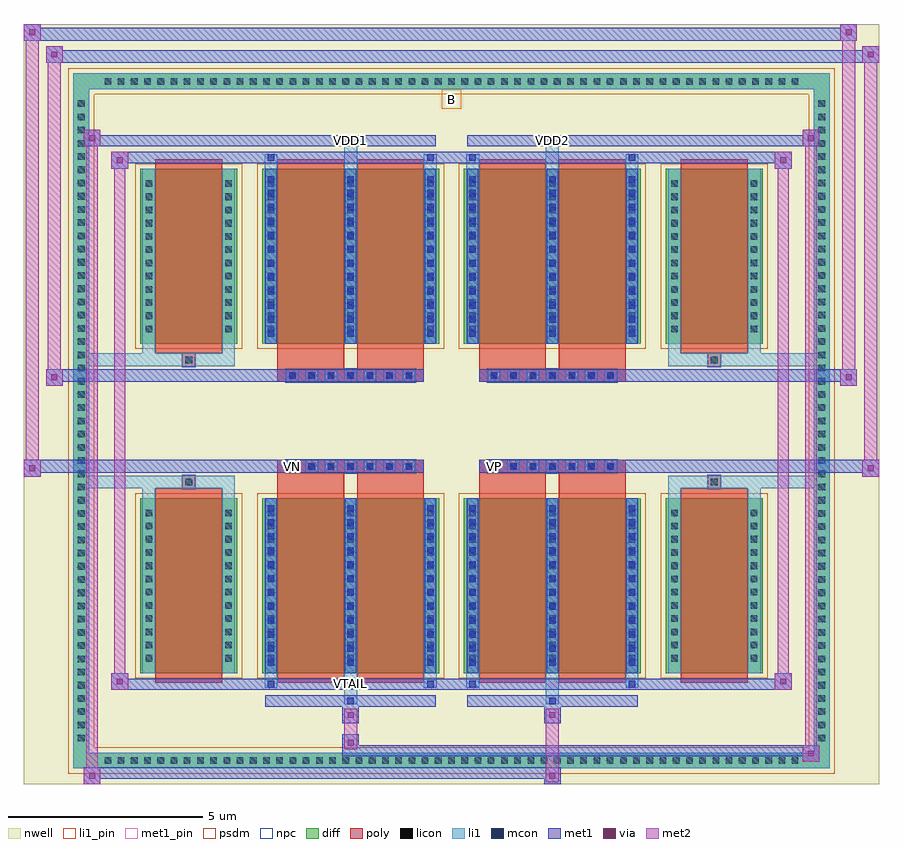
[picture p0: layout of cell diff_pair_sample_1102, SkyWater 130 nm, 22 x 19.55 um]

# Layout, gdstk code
import gdstk
lib = gdstk.Library(unit=1e-6, precision=5e-09)
def R(c, l, rs):  # rectangles x0, y0, x1, y1
    for r in rs: c.add(gdstk.rectangle(r[:2], r[2:], *l))
def A(c, l, x, y, w, h, nx, ny, dx, dy):  # array of equal rectangles
    R(c, l, [(x+i*dx, y+j*dy, x+i*dx+w, y+j*dy+h) for i in range(nx) for j in range(ny)])
def P(c, l, *ps):  # polygons
    for p in ps: c.add(gdstk.Polygon(p, *l))
nwell = (64, 20)
diff = (65, 20)
poly = (66, 20)
licon = (66, 44)
li1_pin = (67, 16)
li1 = (67, 20)
mcon = (67, 44)
met1_pin = (68, 16)
met1 = (68, 20)
via = (68, 44)
met2 = (69, 20)
psdm = (94, 20)
npc = (95, 20)

diff_pair_sample_1102 = lib.new_cell('diff_pair_sample_1102')
R(diff_pair_sample_1102, nwell, [(-11,-9.34,11,10.21), (-8.32,-7.53,-0.01,-0.805), (0.01,-7.53,8.32,-0.805), (-8.32,0.805,-0.01,7.53), (0.01,0.805,8.32,7.53)])
A(diff_pair_sample_1102, diff, -9.045, -8.94, 0.41, 0.41, 53, 2, 0.34, 17.47)
A(diff_pair_sample_1102, diff, -9.73, -8.365, 0.41, 0.41, 1, 49, 0, 0.34)
A(diff_pair_sample_1102, diff, 9.32, -8.365, 0.41, 0.41, 1, 49, 0, 0.34)
R(diff_pair_sample_1102, diff, [(-9.045,-8.94,9.045,-8.53), (-9.73,-8.365,-9.32,8.365), (9.32,-8.365,9.73,8.365), (-8.01,-6.485,-5.51,-1.985), (-4.87,-6.485,-0.32,-1.985), (0.32,-6.485,4.87,-1.985), (5.51,-6.485,8.01,-1.985), (-8.01,1.985,-5.51,6.485), (-4.87,1.985,-0.32,6.485), (0.32,1.985,4.87,6.485), (5.51,1.985,8.01,6.485), (-9.045,8.53,9.045,8.94)])
P(diff_pair_sample_1102, diff, [(9.73,8.94),(-9.73,8.94),(-9.73,-8.53),(-9.32,-8.53),(-9.32,8.53),(9.32,8.53),(9.32,-8.53),(-9.32,-8.53),(-9.73,-8.53),(-9.73,-8.94),(9.73,-8.94)])
A(diff_pair_sample_1102, poly, -4.26, -1.335, 0.33, 0.33, 7, 2, 0.5, 2.34)
A(diff_pair_sample_1102, poly, 0.93, -1.335, 0.33, 0.33, 7, 2, 0.5, 2.34)
R(diff_pair_sample_1102, poly, [(-7.62,-6.735,-5.9,-1.735), (-4.48,-6.735,-2.76,-1.735), (-2.43,-6.735,-0.71,-1.735), (0.71,-6.735,2.43,-1.735), (2.76,-6.735,4.48,-1.735), (5.9,-6.735,7.62,-1.735), (-6.925,-1.735,-6.595,-1.405), (-6.925,-1.735,-6.595,-1.405), (-4.48,-1.735,-2.76,-1.335), (-2.43,-1.735,-0.71,-1.335), (0.71,-1.735,2.43,-1.335), (2.76,-1.735,4.48,-1.335), (6.595,-1.735,6.925,-1.405), (6.595,-1.735,6.925,-1.405), (-4.48,-1.335,-0.71,-1.005), (0.71,-1.335,4.48,-1.005), (-4.48,1.005,-0.71,1.335), (0.71,1.005,4.48,1.335), (-4.48,1.335,-2.76,1.735), (-2.43,1.335,-0.71,1.735), (0.71,1.335,2.43,1.735), (2.76,1.335,4.48,1.735), (-6.925,1.405,-6.595,1.735), (-6.925,1.405,-6.595,1.735), (6.595,1.405,6.925,1.735), (6.595,1.405,6.925,1.735), (-7.62,1.735,-5.9,6.735), (-4.48,1.735,-2.76,6.735), (-2.43,1.735,-0.71,6.735), (0.71,1.735,2.43,6.735), (2.76,1.735,4.48,6.735), (5.9,1.735,7.62,6.735)])
A(diff_pair_sample_1102, licon, -8.925, -8.82, 0.17, 0.17, 53, 2, 0.34, 17.47)
A(diff_pair_sample_1102, licon, -9.61, -8.245, 0.17, 0.17, 1, 49, 0, 0.34)
A(diff_pair_sample_1102, licon, 9.44, -8.245, 0.17, 0.17, 1, 49, 0, 0.34)
A(diff_pair_sample_1102, licon, -7.87, -6.19, 0.17, 0.17, 1, 12, 0, 0.34)
A(diff_pair_sample_1102, licon, -5.82, -6.19, 0.17, 0.17, 1, 12, 0, 0.34)
A(diff_pair_sample_1102, licon, -4.73, -6.19, 0.17, 0.17, 3, 12, 2.05, 0.34)
A(diff_pair_sample_1102, licon, 0.46, -6.19, 0.17, 0.17, 3, 12, 2.05, 0.34)
A(diff_pair_sample_1102, licon, 5.65, -6.19, 0.17, 0.17, 1, 12, 0, 0.34)
A(diff_pair_sample_1102, licon, 7.7, -6.19, 0.17, 0.17, 1, 12, 0, 0.34)
A(diff_pair_sample_1102, licon, -4.18, -1.255, 0.17, 0.17, 7, 2, 0.5, 2.34)
A(diff_pair_sample_1102, licon, 1.01, -1.255, 0.17, 0.17, 7, 2, 0.5, 2.34)
A(diff_pair_sample_1102, licon, -7.87, 2.28, 0.17, 0.17, 1, 12, 0, 0.34)
A(diff_pair_sample_1102, licon, -5.82, 2.28, 0.17, 0.17, 1, 12, 0, 0.34)
A(diff_pair_sample_1102, licon, -4.73, 2.28, 0.17, 0.17, 3, 12, 2.05, 0.34)
A(diff_pair_sample_1102, licon, 0.46, 2.28, 0.17, 0.17, 3, 12, 2.05, 0.34)
A(diff_pair_sample_1102, licon, 5.65, 2.28, 0.17, 0.17, 1, 12, 0, 0.34)
A(diff_pair_sample_1102, licon, 7.7, 2.28, 0.17, 0.17, 1, 12, 0, 0.34)
R(diff_pair_sample_1102, licon, [(-6.845,-1.655,-6.675,-1.485), (6.675,-1.655,6.845,-1.485), (-6.845,1.485,-6.675,1.655), (6.675,1.485,6.845,1.655)])
R(diff_pair_sample_1102, li1_pin, [(-0.25,8.03,0.25,8.53)])
A(diff_pair_sample_1102, li1, -9.005, -8.9, 0.33, 0.33, 53, 2, 0.34, 17.47)
A(diff_pair_sample_1102, li1, -9.69, -8.325, 0.33, 0.33, 1, 49, 0, 0.34)
A(diff_pair_sample_1102, li1, 9.36, -8.325, 0.33, 0.33, 1, 49, 0, 0.34)
A(diff_pair_sample_1102, li1, -4.81, -6.485, 0.33, 4.5, 3, 2, 2.05, 8.47)
A(diff_pair_sample_1102, li1, 0.38, -6.485, 0.33, 4.5, 3, 2, 2.05, 8.47)
A(diff_pair_sample_1102, li1, -4.73, -6.3, 0.17, 0.17, 3, 12, 2.05, 0.36)
A(diff_pair_sample_1102, li1, -4.73, -6.3, 0.17, 4.13, 3, 2, 2.05, 8.47)
A(diff_pair_sample_1102, li1, 0.46, -6.3, 0.17, 0.17, 3, 12, 2.05, 0.36)
A(diff_pair_sample_1102, li1, 0.46, -6.3, 0.17, 4.13, 3, 2, 2.05, 8.47)
A(diff_pair_sample_1102, li1, -7.95, -6.27, 0.33, 0.33, 1, 12, 0, 0.34)
A(diff_pair_sample_1102, li1, -5.9, -6.27, 0.33, 0.33, 1, 12, 0, 0.34)
A(diff_pair_sample_1102, li1, -4.81, -6.27, 0.33, 0.33, 3, 12, 2.05, 0.34)
A(diff_pair_sample_1102, li1, 0.38, -6.27, 0.33, 0.33, 3, 12, 2.05, 0.34)
A(diff_pair_sample_1102, li1, 5.57, -6.27, 0.33, 0.33, 1, 12, 0, 0.34)
A(diff_pair_sample_1102, li1, 7.62, -6.27, 0.33, 0.33, 1, 12, 0, 0.34)
A(diff_pair_sample_1102, li1, -4.26, -1.335, 0.33, 0.33, 7, 2, 0.5, 2.34)
A(diff_pair_sample_1102, li1, 0.93, -1.335, 0.33, 0.33, 7, 2, 0.5, 2.34)
A(diff_pair_sample_1102, li1, -4.73, 2.17, 0.17, 0.17, 3, 12, 2.05, 0.36)
A(diff_pair_sample_1102, li1, 0.46, 2.17, 0.17, 0.17, 3, 12, 2.05, 0.36)
A(diff_pair_sample_1102, li1, -7.95, 2.2, 0.33, 0.33, 1, 12, 0, 0.34)
A(diff_pair_sample_1102, li1, -5.9, 2.2, 0.33, 0.33, 1, 12, 0, 0.34)
A(diff_pair_sample_1102, li1, -4.81, 2.2, 0.33, 0.33, 3, 12, 2.05, 0.34)
A(diff_pair_sample_1102, li1, 0.38, 2.2, 0.33, 0.33, 3, 12, 2.05, 0.34)
A(diff_pair_sample_1102, li1, 5.57, 2.2, 0.33, 0.33, 1, 12, 0, 0.34)
A(diff_pair_sample_1102, li1, 7.62, 2.2, 0.33, 0.33, 1, 12, 0, 0.34)
R(diff_pair_sample_1102, li1, [(-9.73,-8.94,-9.32,-8.53), (-9.73,-8.94,-9.32,-8.53), (-9.32,-8.94,9.32,-8.53), (9.32,-8.94,9.73,-8.53), (9.32,-8.94,9.73,-8.53), (-9.73,-8.53,-9.32,8.53), (9.32,-8.53,9.73,8.53), (-2.76,-7.29,-2.43,-6.485), (-2.68,-7.29,-2.51,-7.12), (2.43,-7.29,2.76,-6.485), (2.51,-7.29,2.68,-7.12), (-4.81,-6.86,-4.48,-6.485), (-4.73,-6.86,-4.56,-6.69), (-0.71,-6.86,-0.38,-6.485), (-0.63,-6.86,-0.46,-6.69), (0.38,-6.86,0.71,-6.485), (0.46,-6.86,0.63,-6.69), (4.48,-6.86,4.81,-6.485), (4.56,-6.86,4.73,-6.69), (-7.95,-6.485,-7.62,-1.985), (-5.9,-6.485,-5.57,-1.985), (5.57,-6.485,5.9,-1.985), (7.62,-6.485,7.95,-1.985), (-7.95,-1.985,-7.62,-1.405), (-5.9,-1.985,-5.57,-1.405), (5.57,-1.985,5.9,-1.405), (7.62,-1.985,7.95,-1.405), (-9.73,-1.735,-6.925,-1.405), (-7.95,-1.735,-6.925,-1.405), (-6.925,-1.735,-6.595,-1.405), (-6.595,-1.735,-5.57,-1.405), (5.57,-1.735,6.595,-1.405), (6.595,-1.735,6.925,-1.405), (6.595,-1.735,9.73,-1.405), (6.925,-1.735,7.95,-1.405), (-9.73,1.405,-6.925,1.735), (-7.95,1.405,-6.925,1.735), (-7.95,1.405,-7.62,1.985), (-6.925,1.405,-6.595,1.735), (-6.595,1.405,-5.57,1.735), (-5.9,1.405,-5.57,1.985), (5.57,1.405,6.595,1.735), (5.57,1.405,5.9,1.985), (6.595,1.405,6.925,1.735), (6.595,1.405,9.73,1.735), (6.925,1.405,7.95,1.735), (7.62,1.405,7.95,1.985), (-7.95,1.985,-7.62,6.485), (-5.9,1.985,-5.57,6.485), (5.57,1.985,5.9,6.485), (7.62,1.985,7.95,6.485), (-4.81,6.485,-4.48,6.86), (-2.76,6.485,-2.43,7.29), (-0.71,6.485,-0.38,6.86), (0.38,6.485,0.71,6.86), (2.43,6.485,2.76,7.29), (4.48,6.485,4.81,6.86), (-4.73,6.69,-4.56,6.86), (-0.63,6.69,-0.46,6.86), (0.46,6.69,0.63,6.86), (4.56,6.69,4.73,6.86), (-2.68,7.12,-2.51,7.29), (2.51,7.12,2.68,7.29), (-9.73,8.53,-9.32,8.94), (-9.73,8.53,-9.32,8.94), (-9.32,8.53,9.32,8.94), (9.32,8.53,9.73,8.94), (9.32,8.53,9.73,8.94)])
A(diff_pair_sample_1102, mcon, -4.73, -6.3, 0.17, 0.17, 3, 12, 2.05, 0.36)
A(diff_pair_sample_1102, mcon, 0.46, -6.3, 0.17, 0.17, 3, 12, 2.05, 0.36)
A(diff_pair_sample_1102, mcon, -4.18, -1.255, 0.17, 0.17, 7, 2, 0.5, 2.34)
A(diff_pair_sample_1102, mcon, 1.01, -1.255, 0.17, 0.17, 7, 2, 0.5, 2.34)
A(diff_pair_sample_1102, mcon, -4.73, 2.17, 0.17, 0.17, 3, 12, 2.05, 0.36)
A(diff_pair_sample_1102, mcon, 0.46, 2.17, 0.17, 0.17, 3, 12, 2.05, 0.36)
R(diff_pair_sample_1102, mcon, [(-2.68,-7.29,-2.51,-7.12), (2.51,-7.29,2.68,-7.12), (-4.73,-6.86,-4.56,-6.69), (-0.63,-6.86,-0.46,-6.69), (0.46,-6.86,0.63,-6.69), (4.56,-6.86,4.73,-6.69), (-4.73,6.69,-4.56,6.86), (-0.63,6.69,-0.46,6.86), (0.46,6.69,0.63,6.86), (4.56,6.69,4.73,6.86), (-2.68,7.12,-2.51,7.29), (2.51,7.12,2.68,7.29)])
R(diff_pair_sample_1102, met1_pin, [(-2.73,-6.9,-2.46,-6.63), (-4.23,-1.295,-3.96,-1.025), (0.96,-1.295,1.23,-1.025), (-2.73,7.08,-2.46,7.35), (2.46,7.08,2.73,7.35)])
A(diff_pair_sample_1102, met1, -4.79, -6.485, 0.29, 4.5, 3, 2, 2.05, 8.47)
A(diff_pair_sample_1102, met1, 0.4, -6.485, 0.29, 4.5, 3, 2, 2.05, 8.47)
A(diff_pair_sample_1102, met1, -4.79, -6.36, 0.29, 0.29, 3, 12, 2.05, 0.36)
A(diff_pair_sample_1102, met1, 0.4, -6.36, 0.29, 0.29, 3, 12, 2.05, 0.36)
A(diff_pair_sample_1102, met1, -4.24, -1.315, 0.29, 0.29, 7, 2, 0.5, 2.34)
A(diff_pair_sample_1102, met1, 0.95, -1.315, 0.29, 0.29, 7, 2, 0.5, 2.34)
A(diff_pair_sample_1102, met1, -4.79, 2.11, 0.29, 0.29, 3, 12, 2.05, 0.36)
A(diff_pair_sample_1102, met1, 0.4, 2.11, 0.29, 0.29, 3, 12, 2.05, 0.36)
R(diff_pair_sample_1102, met1, [(-9.46,-9.34,-9.03,-8.91), (2.38,-9.34,2.81,-8.91), (-9.46,-9.2,2.81,-8.91), (9.03,-8.77,9.46,-8.34), (-2.81,-8.63,9.46,-8.34), (-2.81,-8.49,-2.38,-8.06), (-2.81,-7.78,-2.38,-7.35), (2.38,-7.78,2.81,-7.35), (-4.79,-7.35,-0.4,-7.06), (-2.74,-7.35,-2.45,-7.06), (0.4,-7.35,4.79,-7.06), (2.45,-7.35,2.74,-7.06), (-8.75,-6.92,-8.32,-6.49), (-8.75,-6.92,-4.79,-6.63), (-4.79,-6.92,-4.5,-6.63), (-4.79,-6.92,-0.4,-6.63), (-0.69,-6.92,-0.4,-6.63), (-0.4,-6.92,0.4,-6.63), (0.4,-6.92,0.69,-6.63), (0.4,-6.92,4.79,-6.63), (4.5,-6.92,4.79,-6.63), (4.79,-6.92,8.75,-6.63), (8.32,-6.92,8.75,-6.49), (-11,-1.435,-10.57,-1.005), (10.57,-1.435,11,-1.005), (-11,-1.335,-0.71,-1.005), (-4.48,-1.335,-0.71,-1.005), (0.71,-1.335,4.48,-1.005), (0.71,-1.335,11,-1.005), (-10.43,0.905,-10,1.335), (10,0.905,10.43,1.335), (-10.43,1.005,-4.48,1.335), (-4.48,1.005,-0.71,1.335), (0.71,1.005,4.48,1.335), (4.48,1.005,10.43,1.335), (-8.75,6.49,-8.32,6.92), (8.32,6.49,8.75,6.92), (-8.75,6.63,-4.79,6.92), (-4.79,6.63,-4.5,6.92), (-4.79,6.63,-0.4,6.92), (-0.69,6.63,-0.4,6.92), (-0.4,6.63,0.4,6.92), (0.4,6.63,0.69,6.92), (0.4,6.63,4.79,6.92), (4.5,6.63,4.79,6.92), (4.79,6.63,8.75,6.92), (-9.46,7.06,-9.03,7.49), (-9.46,7.06,-4.79,7.35), (-4.79,7.06,-0.4,7.35), (-2.74,7.06,-2.45,7.35), (0.4,7.06,4.79,7.35), (2.45,7.06,2.74,7.35), (4.79,7.06,9.46,7.35), (9.03,7.06,9.46,7.49), (-10.43,9.21,-10,9.64), (-10.43,9.21,-8.32,9.54), (-8.32,9.21,8.32,9.54), (8.32,9.21,11,9.54), (10.57,9.21,11,9.64), (-11,9.78,-10.57,10.21), (-11,9.78,-8.32,10.11), (-8.32,9.78,8.32,10.11), (8.32,9.78,10.43,10.11), (10,9.78,10.43,10.21)])
R(diff_pair_sample_1102, via, [(-9.32,-9.2,-9.17,-9.05), (2.52,-9.2,2.67,-9.05), (9.17,-8.63,9.32,-8.48), (-2.67,-8.35,-2.52,-8.2), (-2.67,-7.64,-2.52,-7.49), (2.52,-7.64,2.67,-7.49), (-8.61,-6.78,-8.46,-6.63), (8.46,-6.78,8.61,-6.63), (-10.86,-1.295,-10.71,-1.145), (10.71,-1.295,10.86,-1.145), (-10.29,1.045,-10.14,1.195), (10.14,1.045,10.29,1.195), (-8.61,6.63,-8.46,6.78), (8.46,6.63,8.61,6.78), (-9.32,7.2,-9.17,7.35), (9.17,7.2,9.32,7.35), (-10.29,9.35,-10.14,9.5), (10.71,9.35,10.86,9.5), (-10.86,9.92,-10.71,10.07), (10.14,9.92,10.29,10.07)])
R(diff_pair_sample_1102, met2, [(-9.46,-9.34,-9.03,-8.91), (-9.39,-9.34,-9.1,7.49), (-9.1,-9.34,-9.03,-8.91), (-9.41,-9.29,-9.08,-8.96), (2.43,-9.29,2.76,-8.96), (2.43,-8.96,2.76,-7.73), (9.03,-8.77,9.46,-8.34), (9.1,-8.77,9.39,7.49), (9.39,-8.77,9.46,-8.34), (9.08,-8.72,9.41,-8.39), (-2.76,-8.44,-2.43,-8.11), (-2.76,-8.11,-2.43,-7.73), (-2.76,-7.73,-2.43,-7.4), (2.43,-7.73,2.76,-7.4), (-8.75,-6.92,-8.32,-6.49), (-8.68,-6.92,-8.39,6.92), (-8.39,-6.92,-8.32,-6.49), (8.32,-6.92,8.75,-6.49), (8.39,-6.92,8.68,6.92), (8.68,-6.92,8.75,-6.49), (-8.7,-6.87,-8.37,-6.54), (8.37,-6.87,8.7,-6.54), (-11,-1.435,-10.57,-1.005), (-10.95,-1.435,-10.62,10.21), (-10.62,-1.435,-10.57,-1.005), (10.57,-1.435,11,-1.005), (10.62,-1.435,10.95,9.64), (10.95,-1.435,11,-1.005), (-10.95,-1.385,-10.62,-1.055), (10.62,-1.385,10.95,-1.055), (-10.43,0.905,-10,1.335), (-10.38,0.905,-10.05,9.64), (-10.05,0.905,-10,1.335), (10,0.905,10.43,1.335), (10.05,0.905,10.38,10.21), (10.38,0.905,10.43,1.335), (-10.38,0.955,-10.05,1.285), (10.05,0.955,10.38,1.285), (-8.75,6.49,-8.32,6.92), (-8.39,6.49,-8.32,6.92), (8.32,6.49,8.75,6.92), (8.68,6.49,8.75,6.92), (-8.7,6.54,-8.37,6.87), (8.37,6.54,8.7,6.87), (-9.46,7.06,-9.03,7.49), (-9.1,7.06,-9.03,7.49), (9.03,7.06,9.46,7.49), (9.39,7.06,9.46,7.49), (-9.41,7.11,-9.08,7.44), (9.08,7.11,9.41,7.44), (-10.43,9.21,-10,9.64), (-10.05,9.21,-10,9.64), (10.57,9.21,11,9.64), (10.95,9.21,11,9.64), (-10.38,9.26,-10.05,9.59), (10.62,9.26,10.95,9.59), (-11,9.78,-10.57,10.21), (-10.62,9.78,-10.57,10.21), (10,9.78,10.43,10.21), (10.38,9.78,10.43,10.21), (-10.95,9.83,-10.62,10.16), (10.05,9.83,10.38,10.16)])
R(diff_pair_sample_1102, psdm, [(-8.14,-6.615,-5.38,-1.855), (-5,-6.615,-0.19,-1.855), (0.19,-6.615,5,-1.855), (5.38,-6.615,8.14,-1.855), (-8.14,1.855,-5.38,6.615), (-5,1.855,-0.19,6.615), (0.19,1.855,5,6.615), (5.38,1.855,8.14,6.615)])
P(diff_pair_sample_1102, psdm, [(9.86,9.07),(-9.86,9.07),(-9.86,-8.4),(-9.19,-8.4),(-9.19,8.4),(9.19,8.4),(9.19,-8.4),(-9.19,-8.4),(-9.86,-8.4),(-9.86,-9.07),(9.86,-9.07)])
A(diff_pair_sample_1102, npc, -4.28, -1.355, 0.37, 0.37, 7, 2, 0.5, 2.34)
A(diff_pair_sample_1102, npc, 0.91, -1.355, 0.37, 0.37, 7, 2, 0.5, 2.34)
R(diff_pair_sample_1102, npc, [(-6.945,-1.755,-6.575,-1.385), (6.575,-1.755,6.945,-1.385), (-4.28,-1.355,-3.41,-0.985), (-4.28,-1.355,-3.41,-0.985), (-3.78,-1.355,-2.91,-0.985), (-3.78,-1.355,-2.91,-0.985), (-3.28,-1.355,-2.41,-0.985), (-3.28,-1.355,-2.41,-0.985), (-2.78,-1.355,-1.91,-0.985), (-2.78,-1.355,-1.91,-0.985), (-2.28,-1.355,-1.41,-0.985), (-2.28,-1.355,-1.41,-0.985), (-1.78,-1.355,-0.91,-0.985), (-1.78,-1.355,-0.91,-0.985), (0.91,-1.355,1.78,-0.985), (0.91,-1.355,1.78,-0.985), (1.41,-1.355,2.28,-0.985), (1.41,-1.355,2.28,-0.985), (1.91,-1.355,2.78,-0.985), (1.91,-1.355,2.78,-0.985), (2.41,-1.355,3.28,-0.985), (2.41,-1.355,3.28,-0.985), (2.91,-1.355,3.78,-0.985), (2.91,-1.355,3.78,-0.985), (3.41,-1.355,4.28,-0.985), (3.41,-1.355,4.28,-0.985), (-4.28,0.985,-3.41,1.355), (-4.28,0.985,-3.41,1.355), (-3.78,0.985,-2.91,1.355), (-3.78,0.985,-2.91,1.355), (-3.28,0.985,-2.41,1.355), (-3.28,0.985,-2.41,1.355), (-2.78,0.985,-1.91,1.355), (-2.78,0.985,-1.91,1.355), (-2.28,0.985,-1.41,1.355), (-2.28,0.985,-1.41,1.355), (-1.78,0.985,-0.91,1.355), (-1.78,0.985,-0.91,1.355), (0.91,0.985,1.78,1.355), (0.91,0.985,1.78,1.355), (1.41,0.985,2.28,1.355), (1.41,0.985,2.28,1.355), (1.91,0.985,2.78,1.355), (1.91,0.985,2.78,1.355), (2.41,0.985,3.28,1.355), (2.41,0.985,3.28,1.355), (2.91,0.985,3.78,1.355), (2.91,0.985,3.78,1.355), (3.41,0.985,4.28,1.355), (3.41,0.985,4.28,1.355), (-6.945,1.385,-6.575,1.755), (6.575,1.385,6.945,1.755)])
diff_pair_sample_1102.add(gdstk.Label('VTAIL', (-2.595,-6.765), layer=68, texttype=5))
diff_pair_sample_1102.add(gdstk.Label('VN', (-4.095,-1.16), layer=68, texttype=5))
diff_pair_sample_1102.add(gdstk.Label('VP', (1.095,-1.16), layer=68, texttype=5))
diff_pair_sample_1102.add(gdstk.Label('B', (0,8.28), layer=67, texttype=5))
diff_pair_sample_1102.add(gdstk.Label('VDD2', (2.595,7.215), layer=68, texttype=5))
diff_pair_sample_1102.add(gdstk.Label('VDD1', (-2.595,7.215), layer=68, texttype=5))

lib.write_gds('diff_pair_sample_1102.gds')
